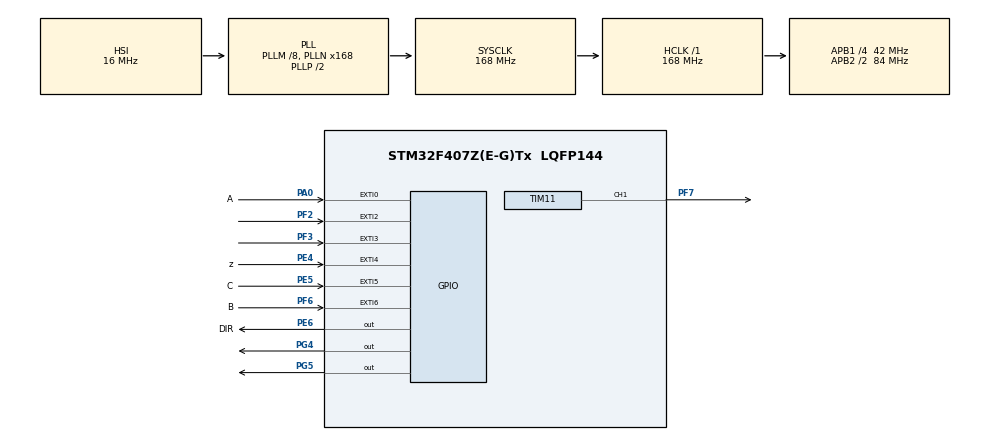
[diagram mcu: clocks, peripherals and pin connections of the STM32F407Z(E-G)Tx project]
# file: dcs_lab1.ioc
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Mcu.Family=STM32F4
Mcu.Name=STM32F407Z(E-G)Tx
Mcu.Package=LQFP144
NVIC.EXTI0_IRQn=true\:0\:0\:false\:false\:true\:true\:true\:true
NVIC.EXTI4_IRQn=true\:0\:0\:false\:false\:true\:true\:true\:true
NVIC.EXTI9_5_IRQn=true\:0\:0\:false\:false\:true\:true\:true\:true
NVIC.PriorityGroup=NVIC_PRIORITYGROUP_4
NVIC.TIM1_TRG_COM_TIM11_IRQn=true\:0\:0\:false\:false\:true\:true\:true\:true
NVIC.TIM6_DAC_IRQn=true\:0\:0\:false\:false\:true\:true\:true\:true
NVIC.TIM7_IRQn=true\:0\:0\:false\:false\:true\:true\:true\:true
PA0-WKUP.GPIO_Label=A
PA0-WKUP.Signal=GPXTI0
PE4.GPIO_Label=z
PE4.Signal=GPXTI4
PE5.GPIO_Label=C
PE5.Signal=GPXTI5
PE6.GPIO_Label=DIR
PE6.Signal=GPIO_Output
PF2.Signal=GPXTI2
PF3.Signal=GPXTI3
PF6.GPIO_Label=B
PF6.Signal=GPXTI6
PF7.Signal=S_TIM11_CH1
PG4.Signal=GPIO_Output
PG5.Signal=GPIO_Output
ProjectManager.HeapSize=0x200
ProjectManager.StackSize=0x400
ProjectManager.TargetToolchain=STM32CubeIDE
RCC.48MHZClocksFreq_Value=84000000
RCC.AHBFreq_Value=168000000
RCC.APB1CLKDivider=RCC_HCLK_DIV4
RCC.APB1Freq_Value=42000000
RCC.APB1TimFreq_Value=84000000
RCC.APB2CLKDivider=RCC_HCLK_DIV2
RCC.APB2Freq_Value=84000000
RCC.APB2TimFreq_Value=168000000
RCC.CortexFreq_Value=168000000
RCC.HCLKFreq_Value=168000000
RCC.HSE_VALUE=25000000
RCC.HSI_VALUE=16000000
RCC.LSE_VALUE=32768
RCC.PLLM=8
RCC.PLLN=168
RCC.SYSCLKFreq_VALUE=168000000
RCC.SYSCLKSource=RCC_SYSCLKSOURCE_PLLCLK
RCC.VCOOutputFreq_Value=336000000
SH.S_TIM11_CH1.0=TIM11_CH1,PWM Generation1 CH1
TIM11.AutoReloadPreload=TIM_AUTORELOAD_PRELOAD_ENABLE
TIM11.Channel=TIM_CHANNEL_1
TIM11.Period=1119
TIM11.Prescaler=9
TIM6.Period=8399
TIM6.Prescaler=99
TIM6.TIM_MasterOutputTrigger=TIM_TRGO_UPDATE
TIM7.Period=41999
TIM7.Prescaler=19
VP_TIM11_VS_ClockSourceINT.Mode=Enable_Timer
VP_TIM6_VS_ClockSourceINT.Mode=Enable_Timer
VP_TIM7_VS_ClockSourceINT.Mode=Enable_Timer
board=custom

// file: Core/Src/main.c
/* USER CODE BEGIN Header */
/**
  ******************************************************************************
  * @file           : main.c
  * @brief          : Main program body
  ******************************************************************************
  * @attention
  *
  * Copyright (c) 2024 STMicroelectronics.
  * All rights reserved.
  *
  * This software is licensed under terms that can be found in the LICENSE file
  * in the root directory of this software component.
  * If no LICENSE file comes with this software, it is provided AS-IS.
  *
  ******************************************************************************
  */
/* USER CODE END Header */
#include "main.h"
#include "tim.h"
#include "gpio.h"

void SystemClock_Config(void);

/* USER CODE BEGIN 0 */
uint16_t counter = 0;
uint16_t pos_cnt = 0;
uint16_t position = 0;
uint16_t counter_time = 0;
uint16_t counter_db = 0;
uint16_t v_db = 0;
uint16_t ccr_db = 0;
uint16_t speed=0;
uint16_t ccr_f = 0;
uint16_t A1 = 500;
uint16_t A0 = 0;
float TA_1 = 0.01;
float K_p = 1;
float Ki = 10;
float err_1 = 0;
float err_2 = 0;
float Kd = 0;
float PI_OUT = 300;
float cum_err = 0;
int cnt_step = 0;

float kp=0;
int pre=0;
int ar=0;
int ta=0;
typedef enum{
	INIT = 0,
	IDLE,
	DB,
	DEL,
	K,
	END,
	T0,
	T,
	POS
}
lock_state_t;
lock_state_t state = INIT;

typedef enum{
	OK = 0,
	ERR
} result_t;

result_t init(void)
{
	return OK;
}

result_t idle(void)
{
	return OK;
}

result_t db(void)
{
	if(counter_time == 0)
	{
		TIM11->CCR1 = TIM11->CCR1 + 100;
		return ERR;
	}
	else
	{
		ccr_db = TIM11->CCR1;
		v_db = counter_time;
		return OK;
	}
}

result_t del(void)
{
	return OK;
}

result_t k(void)
{
	return OK;
}
result_t t0(void)
{
	return OK;
}
result_t t(void)
{
	return OK;
}

int dir = 0;
/* USER CODE END 0 */

int main(void)
{

  /* MCU Configuration--------------------------------------------------------*/

  /* Reset of all peripherals, Initializes the Flash interface and the Systick. */
  HAL_Init();

  /* Configure the system clock */
  SystemClock_Config();

  /* Initialize all configured peripherals */
  MX_GPIO_Init();
  MX_TIM6_Init();
  MX_TIM11_Init();
  MX_TIM7_Init();
  /* USER CODE BEGIN 2 */
  HAL_TIM_Base_Start_IT(&htim6);
  HAL_TIM_PWM_Start(&htim11,TIM_CHANNEL_1);
  TIM11->CCR1 = 300;

  HAL_TIM_Base_Start_IT(&htim7);
  /* USER CODE END 2 */

  /* Infinite loop */
  while (1)
  {

    /* USER CODE BEGIN 3 */
	  switch(state)
	 	  {
	 	  	  case INIT:
	 	  		  if(init() == OK)
	 	  		  {
	 	  			  state = IDLE;
	 	  		  }
	 	  		  break;
	 	  	  case IDLE:
	 	  		  if(idle() == OK)
	 	  		  {
	 	  			  state = POS;
	 	  		  }
	 	  		  break;
	 	  	  case DB:
	 	  		  break;
	 	  	  case DEL:
	 	  		TIM11->CCR1 = TIM11->CCR1 + 50;
	 	  		  	HAL_Delay(3000);
	 	  			TIM11->CCR1 = TIM11->CCR1 + 250;
	 	  			state = K;
	 	  		  break;
	 	  	  case K:
	 	  		  break;
	 	  	  case T0:
	 	  		  TIM11->CCR1 = ccr_db;
	 	  		  HAL_Delay(3000);
	 	  		  TIM11->CCR1 = ccr_f;
	 	  		  state = T;
	 	  		  break;
	 	  	  case T:

	 	  		  break;
	 	  	  case END:

	 	  		  break;

	 	  }
  }
  /* USER CODE END 3 */
}

void SystemClock_Config(void)
{
  RCC_OscInitTypeDef RCC_OscInitStruct = {0};
  RCC_ClkInitTypeDef RCC_ClkInitStruct = {0};

  /** Configure the main internal regulator output voltage
  */
  __HAL_RCC_PWR_CLK_ENABLE();
  __HAL_PWR_VOLTAGESCALING_CONFIG(PWR_REGULATOR_VOLTAGE_SCALE1);

  /** Initializes the RCC Oscillators according to the specified parameters
  * in the RCC_OscInitTypeDef structure.
  */
  RCC_OscInitStruct.OscillatorType = RCC_OSCILLATORTYPE_HSI;
  RCC_OscInitStruct.HSIState = RCC_HSI_ON;
  RCC_OscInitStruct.HSICalibrationValue = RCC_HSICALIBRATION_DEFAULT;
  RCC_OscInitStruct.PLL.PLLState = RCC_PLL_ON;
  RCC_OscInitStruct.PLL.PLLSource = RCC_PLLSOURCE_HSI;
  RCC_OscInitStruct.PLL.PLLM = 8;
  RCC_OscInitStruct.PLL.PLLN = 168;
  RCC_OscInitStruct.PLL.PLLP = RCC_PLLP_DIV2;
  RCC_OscInitStruct.PLL.PLLQ = 4;
  if (HAL_RCC_OscConfig(&RCC_OscInitStruct) != HAL_OK)
  {
    Error_Handler();
  }

  /** Initializes the CPU, AHB and APB buses clocks
  */
  RCC_ClkInitStruct.ClockType = RCC_CLOCKTYPE_HCLK|RCC_CLOCKTYPE_SYSCLK
                              |RCC_CLOCKTYPE_PCLK1|RCC_CLOCKTYPE_PCLK2;
  RCC_ClkInitStruct.SYSCLKSource = RCC_SYSCLKSOURCE_PLLCLK;
  RCC_ClkInitStruct.AHBCLKDivider = RCC_SYSCLK_DIV1;
  RCC_ClkInitStruct.APB1CLKDivider = RCC_HCLK_DIV4;
  RCC_ClkInitStruct.APB2CLKDivider = RCC_HCLK_DIV2;

  if (HAL_RCC_ClockConfig(&RCC_ClkInitStruct, FLASH_LATENCY_5) != HAL_OK)
  {
    Error_Handler();
  }
}

/* USER CODE BEGIN 4 */
void HAL_GPIO_EXTI_Callback(uint16_t GPIO_Pin){
	if (GPIO_Pin == A_Pin){
		if (dir == 1){
		pos_cnt++;
		}
		else{
			pos_cnt--;
		}
		position = pos_cnt % 1024;
		position = (position* 360 ) / 1024 ;
		counter++;
		dir = HAL_GPIO_ReadPin(B_GPIO_Port,B_Pin);
	}
	if (GPIO_Pin == z_Pin){

		position = 0;
		pos_cnt = 0;
	}
}

void HAL_TIM_PeriodElapsedCallback(TIM_HandleTypeDef *htim){
	if (htim->Instance == TIM6)
	{
	counter_time = (counter*60*100)/1024;
	// counter_time=counter;
	counter=0;

		if (state == T0)
			{
				ta = 0;
			}
			if (state == T)
			{
				if ((counter_time-v_db)<0.63*(speed-v_db))
				{
					ta++;
				}

			}
	}

	if(htim->Instance == TIM7)
	{

		err_1 = A1 - position;
		PI_OUT = K_p* err_1 ;

			if (err_1>0){
				TIM11->CCR1 = PI_OUT;
				HAL_GPIO_WritePin(DIR_GPIO_Port,DIR_Pin, GPIO_PIN_RESET);
			}
			if (err_1<0){
				TIM11->CCR1 = -PI_OUT;
				HAL_GPIO_WritePin(DIR_GPIO_Port,DIR_Pin, GPIO_PIN_SET);
			}
		cnt_step+=1;
		if(cnt_step==300){
			A1= 60;
		}
		else if(cnt_step==600){
			A1= 90;
		}
		else if(cnt_step==900){
			A1= 120;

		}
		else if(cnt_step==1200){
			A1= 150;

		}
		else if(cnt_step==1500){
			A1= 30;
			cnt_step=0;

		}
		/*err_2 = err_1;
		err_1 = A1 - counter_time;
		PI_OUT = PI_OUT + K_p* err_1 - K_p* err_2 + Ki*err_1*TA_1 ;
		TIM11->CCR1 = PI_OUT;
		cnt_step+=1;

		if(cnt_step==500){
			A1= 500;
		}
		else if(cnt_step==1000){
			A1= 1000;
		}
		else if(cnt_step==1500){
			A1= 1500;

		}
		else if(cnt_step==2000){
			A1= 1000;

		}
		else if(cnt_step==2500){
					A1= 500;
					cnt_step=0;
				}*/
		if(state == DB)
		{
			if(db() == OK)
			{
				state = DEL;

			}
		}
		if (state == K)
		{
			if (counter_time-pre<20){
				ccr_f = TIM11->CCR1;
				speed = counter_time;
	 	  		kp = speed - v_db;
	 	  		ar = TIM11->ARR;
	 	  		kp = kp / (((ccr_f - ccr_db )*12)/ar);
				state = T0;
			} else {
			pre = counter_time;
			}
		}

	}
}
/* USER CODE END 4 */

void Error_Handler(void)
{
  __disable_irq();
  while (1)
  {
  }
}
